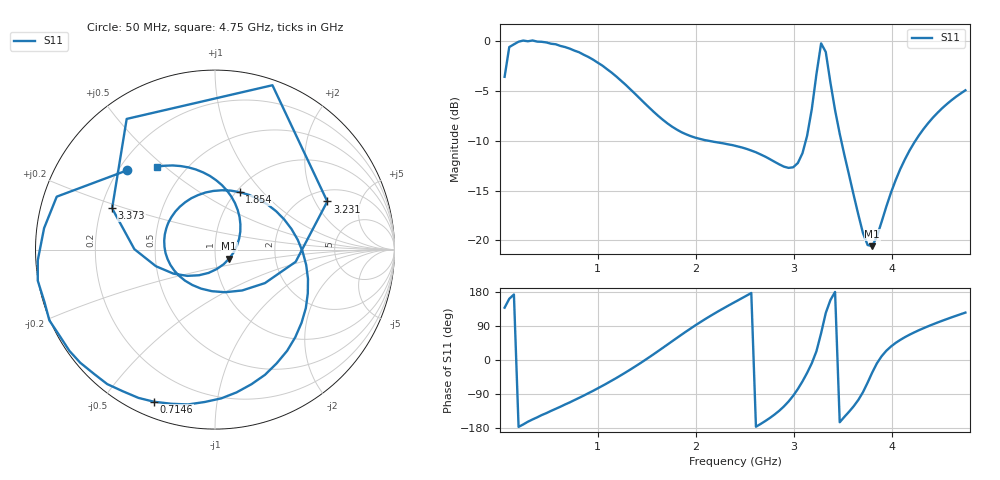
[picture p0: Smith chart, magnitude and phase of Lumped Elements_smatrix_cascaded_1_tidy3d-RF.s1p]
! Created with skrf (http://scikit-rf.org).
# Hz S RI R 50.0
!freq ReS11 ImS11
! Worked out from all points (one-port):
!   101 points, 50 MHz to 4.75 GHz, reference 50 ohm
!   lowest |S11| = -20.6 dB at 3.801 GHz (marker M1), VSWR 1.21, Z = 58.2 - j5.92 ohm
!   |S11| at or under -10 dB: 2.121 GHz to 3.122 GHz (1.001 GHz wide, 38.2 % of centre); 3.483 GHz to 4.241 GHz (758 MHz wide, 19.6 % of centre)
!   S11 on the Smith chart (normalised r, x): 50 MHz: 0.23, +0.37; 714.6 MHz: 0.07, -0.67; 1.854 GHz: 1.04, +0.76; 3.231 GHz: 2.53, +2.53; 3.373 GHz: 0.24, +0.18; 4.75 GHz: 0.35, +0.47
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5e7  -0.4907 0.4412
9.747475e7  -0.8818 0.295
2.39899e8  -0.9874 -0.1733
4.29798e8  -0.8112 -0.5641
6.671717e8  -0.4265 -0.8262
7.146465e8  -0.3395 -0.8478
9.520202e8  0.1201 -0.7955
1.236869e9  0.4822 -0.4077
1.474242e9  0.4887 -0.0129
1.85404e9  0.1379 0.3199
2.091414e9  -0.0941 0.3039
2.4e9  -0.266 0.1343
2.708586e9  -0.2486 -0.0852
2.993434e9  -0.0177 -0.2318
3.135859e9  0.2781 -0.1867
3.183333e9  0.4495 -0.068
3.230808e9  0.6256 0.2682
3.278283e9  0.32 0.9158
3.325758e9  -0.4921 0.7281
3.373232e9  -0.5732 0.2297
3.420707e9  -0.4493 0.00252
3.468182e9  -0.3293 -0.0926
3.610606e9  -0.0895 -0.143
3.705556e9  0.00986 -0.1082
3.800505e9  0.0789 -0.0504
4.180303e9  0.1112 0.2592
4.465152e9  -0.0666 0.4303
4.75e9  -0.3247 0.4622
